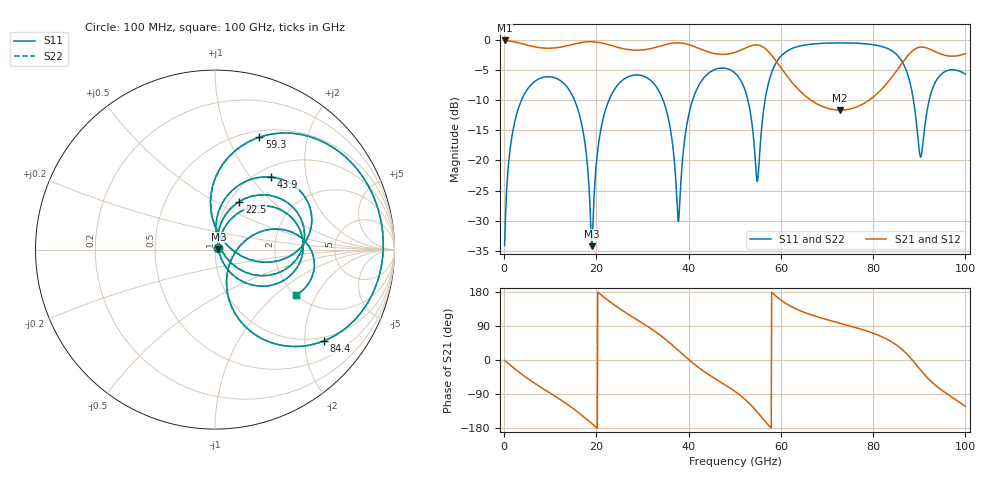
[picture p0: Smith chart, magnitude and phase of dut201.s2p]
! Touchstone file exported from HFSS 2026.1.0
!  File:  C:/ffzhzh/LocalFiles/Ansys_Project_Files/temp_train_TSV_RDL_201_1783658559_29156.aedt
!  Generated:  12:52:18 PM Jul 10, 2026
!  Design:  TSV_RDL
!  Project:  temp_train_TSV_RDL_201_1783658559_29156
! Variables:
!  h_bsmrdl = 3.27um
!  h_ox = 20um
!  h_rdl = 5um
!  h_sub = 61.04um
!  h_tmrdl = 2.72um
!  h_tsv = 61.04um
!  h_via = 3um
!  l_bsmrdl = 290.1um
!  l_sub = 2974.97um
!  l_tmrdl = 391.54um
!  m_sub = 200um
!  pitch = 48.02um
!  r_tsv = 10.46um
!  s_tmrdl = 10um
!  w_bsmrdl = 29.86um
!  w_sub = 500um
!  w_tmrdl = 16.31um
!  x_tsv_center1 = 399.695um
!  x_tsv_center2 = 719.655um
!  x_tsv_center3 = 1127.505um
!  x_tsv_center4 = 1447.465um
!  x_tsv_center5 = 1855.315um
!  x_tsv_center6 = 2175.275um
# GHz S MA R 50.000000
! Terminal data exported
! Port[1] = TM_RDL1_1_T1
! Port[2] = TM_RDL5_1_T1
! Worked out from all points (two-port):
!   1000 points, 100 MHz to 100 GHz, reference 50 ohm
!   highest |S21| = -0.15 dB at 100 MHz (marker M1); lowest = -11.7 dB at 72.8 GHz (marker M2)
!   |S21| within 3 dB of the highest: start of sweep to 58.55 GHz; 87 GHz to end of sweep
!   lowest |S11| = -34.2 dB at 19 GHz (marker M3), VSWR 1.04, Z = 52 + j0.32 ohm
!   |S11| at or under -10 dB: start of sweep to 3.771 GHz; 15.24 GHz to 22.74 GHz (7.495 GHz wide, 39.5 % of centre); 34.44 GHz to 40.87 GHz (6.43 GHz wide, 17.1 % of centre) (the widest 3 of 5)
!   |S22| runs from -34.8 to -0.5 dB; largest |S21 - S12| = 3.2e-13
!   S11 on the Smith chart (normalised r, x): 100 MHz: 1.03, +0.02; 22.5 GHz: 1.11, +0.65; 43.9 GHz: 1.16, +1.27; 59.3 GHz: 0.57, +1.31; 84.4 GHz: 0.90, -2.46; 100 GHz: 1.99, -1.38
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0.1  0.0198 30.8  0.9831 -1.1  0.9831 -1.1  0.0198 30.8
! Gamma 0 0 0 0
! Port Impedance 50 0 50 0
1.8  0.1679 64.3  0.9645 -18.4  0.9645 -18.4  0.1679 64.3
5.2  0.3956 37.2  0.8959 -49.7  0.8959 -49.7  0.3956 37.2
10.8  0.4853 -4.9  0.8516 -93.6  0.8516 -93.6  0.4853 -5.0
16.8  0.2004 -52.3  0.946 -145.5  0.946 -145.5  0.2003 -52.6
19  0.0195 9.1  0.9605 -167.7  0.9605 -167.7  0.01829 8.8
22.5  0.2999 63.0  0.9097 157.6  0.9097 157.6  0.2997 63.3
33.4  0.3843 -19.0  0.8739 69.3  0.8739 69.3  0.3842 -18.8
37.8  0.03133 27.6  0.939 24.9  0.939 24.9  0.03278 27.8
40.1  0.2458 82.4  0.9059 0.3  0.9059 0.3  0.2462 82.1
43.9  0.5103 52.3  0.7984 -35.0  0.7984 -35.0  0.5106 52.3
50.1  0.5257 8.3  0.7858 -83.4  0.7858 -83.4  0.5258 8.4
54.9  0.06696 42.4  0.9021 -137.8  0.9021 -137.8  0.0689 42.3
59.3  0.674 68.4  0.6361 164.6  0.6361 164.6  0.6742 68.3
66.7  0.9168 26.6  0.3117 118.7  0.3117 118.7  0.9169 26.6
72.8  0.939 6.8  0.2608 97.1  0.2608 97.1  0.9391 6.8
83.4  0.8339 -33.7  0.4541 52.2  0.4541 52.2  0.8339 -33.7
84.4  0.7913 -40.0  0.5086 45.0  0.5086 45.0  0.7912 -40.1
87.8  0.4695 -68.0  0.7575 9.5  0.7575 9.5  0.4692 -68.1
90.3  0.1065 -25.3  0.8671 -26.7  0.8671 -26.7  0.105 -25.3
93.7  0.4588 10.8  0.7862 -68.6  0.7862 -68.6  0.4585 11.0
100  0.5164 -29.6  0.7659 -122.6  0.7659 -122.6  0.5165 -29.5
